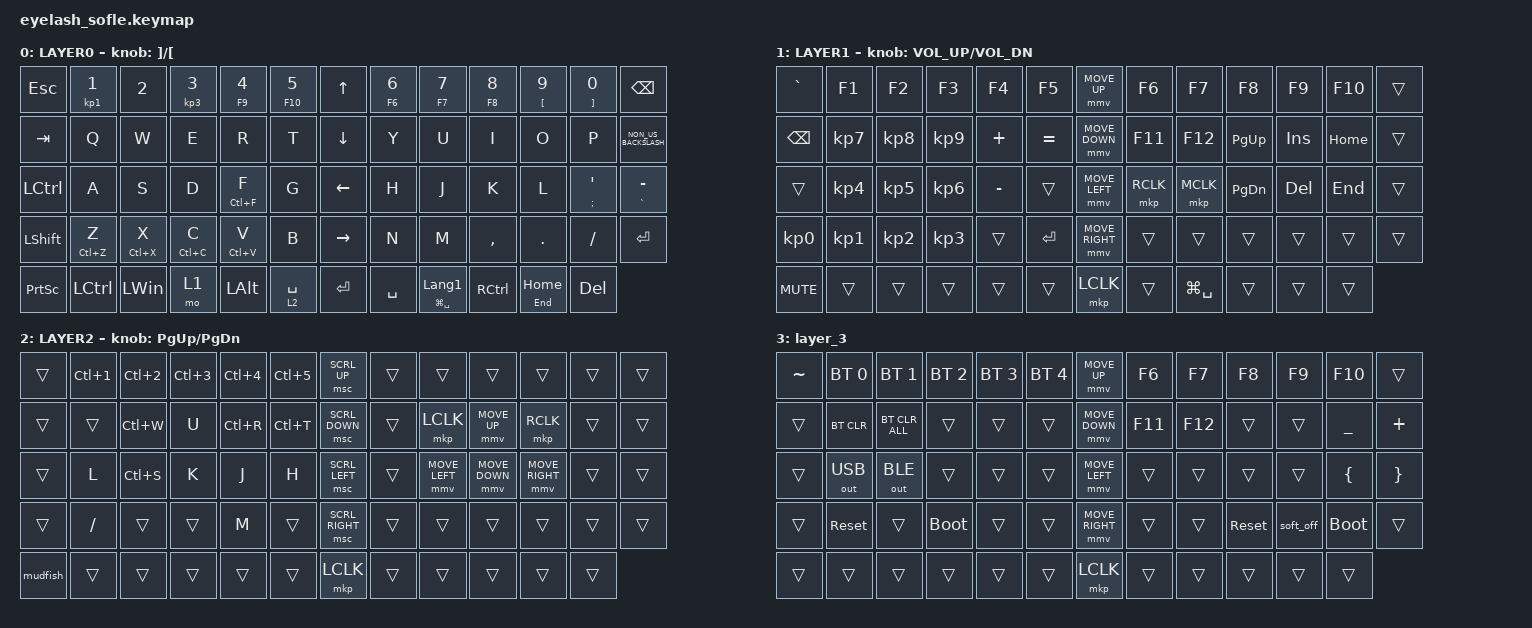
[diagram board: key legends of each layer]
#define ZMK_POINTING_DEFAULT_MOVE_VAL 1200  // 600
#define ZMK_POINTING_DEFAULT_SCRL_VAL 35    // 10

#include <input/processors.dtsi>
#include <zephyr/dt-bindings/input/input-event-codes.h>
#include <behaviors.dtsi>
#include <dt-bindings/zmk/bt.h>
#include <dt-bindings/zmk/keys.h>
#include <dt-bindings/zmk/outputs.h>
#include <dt-bindings/zmk/pointing.h>

/ {
    zip_scroll_scaler: zip_scroll_scaler {
        compatible = "zmk,input-processor-scaler";
        #input-processor-cells = <2>;
        type = <INPUT_EV_REL>;
        codes = <INPUT_REL_WHEEL INPUT_REL_HWHEEL>;
        track-remainders;
    };
};

&mmv_input_listener { input-processors = <&zip_xy_scaler 2 1>; };

&msc_input_listener { input-processors = <&zip_scroll_scaler 2 1>; };

&msc {
    acceleration-exponent = <0>;      // 0
    time-to-max-speed-ms = <0>;       // 300
    delay-ms = <0>;                   // 0
};

&mmv {
    time-to-max-speed-ms = <325>;
    acceleration-exponent = <2>;
};

/ {
    scroll_encoder: scroll_encoder {
        compatible = "zmk,behavior-sensor-rotate";
        #sensor-binding-cells = <0>;
        bindings = <&msc SCRL_DOWN>, <&msc SCRL_UP>;

        tap-ms = <30>;
    };

    hml: hmlayer2 {
        compatible = "zmk,behavior-hold-tap";
        label = "HOME_ROW_Layer2";
        bindings = <&mo>, <&kp>;

        #binding-cells = <2>;
        tapping-term-ms = <200>;
        flavor = "hold-preferred";
    };

    hm: homerow_mod {
        compatible = "zmk,behavior-hold-tap";
        label = "HOMEROW_MOD";
        #binding-cells = <2>;
        tapping-term-ms = <250>;
        flavor = "tap-preferred";
        bindings = <&kp>, <&kp>;
    };

    behaviors {
    };

    combos { compatible = "zmk,combos"; };

    macros {
        mudfish: mudfish {
            compatible = "zmk,behavior-macro";
            #binding-cells = <0>;
            bindings = <&kp Y &kp E &kp W &kp A &kp F &kp A &kp Q>;
            label = "MUDFISH";
        };
    };

    keymap {
        compatible = "zmk,keymap";

        layer0 {
            bindings = <
&kp ESC          &hm KP_NUMBER_1 NUMBER_1  &kp NUMBER_2  &hm KP_NUMBER_3 NUMBER_3  &hm F9 NUMBER_4  &hm F10 N5      &kp UP_ARROW     &hm F6 NUMBER_6  &hm F7 N7                 &hm F8 N8  &hm LEFT_BRACKET N9  &hm RIGHT_BRACKET N0  &kp BACKSPACE
&kp TAB          &kp Q                     &kp W         &kp E                     &kp R            &kp T           &kp DOWN_ARROW   &kp Y            &kp U                     &kp I      &kp O                &kp P                 &kp NON_US_BACKSLASH
&kp LCTRL        &kp A                     &kp S         &kp D                     &hm LC(F) F      &kp G           &kp LEFT_ARROW   &kp H            &kp J                     &kp K      &kp L                &hm SEMICOLON SQT     &hm GRAVE MINUS
&kp LEFT_SHIFT   &hm LC(Z) Z               &hm LC(X) X   &hm LC(C) C               &hm LC(V) V      &kp B           &kp RIGHT_ARROW  &kp N            &kp M                     &kp COMMA  &kp DOT              &kp FSLH              &kp ENTER
&kp PRINTSCREEN  &kp LCTRL                 &kp LEFT_WIN  &mo 1                     &kp LEFT_ALT     &hml 2 SPACE    &kp ENTER        &kp SPACE        &hm LG(SPACE) LANGUAGE_1  &kp RCTRL  &hm END HOME         &kp DEL
            >;

            sensor-bindings = <&inc_dec_kp RIGHT_BRACKET LEFT_BRACKET>;
            display-name = "LAYER0";
        };

        layer_1 {
            bindings = <
&kp GRAVE        &kp F1           &kp F2           &kp F3           &kp F4     &kp F5       &mmv MOVE_UP     &kp F6     &kp F7         &kp F8         &kp F9      &kp F10   &trans
&kp BACKSPACE    &kp KP_NUMBER_7  &kp KP_NUMBER_8  &kp KP_NUMBER_9  &kp PLUS   &kp EQUAL    &mmv MOVE_DOWN   &kp F11    &kp F12        &kp PAGE_UP    &kp INSERT  &kp HOME  &trans
&trans           &kp KP_NUMBER_4  &kp KP_NUMBER_5  &kp KP_NUMBER_6  &kp MINUS  &trans       &mmv MOVE_LEFT   &mkp RCLK  &mkp MCLK      &kp PAGE_DOWN  &kp DELETE  &kp END   &trans
&kp KP_NUMBER_0  &kp KP_NUMBER_1  &kp KP_NUMBER_2  &kp KP_NUMBER_3  &trans     &kp ENTER    &mmv MOVE_RIGHT  &trans     &trans         &trans         &trans      &trans    &trans
&kp C_MUTE       &trans           &trans           &trans           &trans     &trans       &mkp LCLK        &trans     &kp LG(SPACE)  &trans         &trans      &trans
            >;

            display-name = "LAYER1";
            sensor-bindings = <&inc_dec_kp C_VOL_UP C_VOL_DN>;
        };

        layer_2 {
            bindings = <
&trans    &kp LC(NUMBER_1)  &kp LC(NUMBER_2)  &kp LC(NUMBER_3)  &kp LC(NUMBER_4)  &kp LC(N5)    &msc SCRL_UP     &trans  &trans          &trans          &trans           &trans  &trans
&trans    &trans            &kp LC(W)         &kp U             &kp LC(R)         &kp LC(T)     &msc SCRL_DOWN   &trans  &mkp LCLK       &mmv MOVE_UP    &mkp RCLK        &trans  &trans
&trans    &kp L             &kp LC(S)         &kp K             &kp J             &kp H         &msc SCRL_LEFT   &trans  &mmv MOVE_LEFT  &mmv MOVE_DOWN  &mmv MOVE_RIGHT  &trans  &trans
&trans    &kp SLASH         &trans            &trans            &kp M             &trans        &msc SCRL_RIGHT  &trans  &trans          &trans          &trans           &trans  &trans
&mudfish  &trans            &trans            &trans            &trans            &trans        &mkp LCLK        &trans  &trans          &trans          &trans           &trans
            >;

            label = "LAYER2";
            sensor-bindings = <&inc_dec_kp PAGE_UP PAGE_DOWN>;
        };

        layer_3 {
            bindings = <
&kp TILDE  &bt BT_SEL 0  &bt BT_SEL 1    &bt BT_SEL 2  &bt BT_SEL 3  &bt BT_SEL 4    &mmv MOVE_UP     &kp F6   &kp F7   &kp F8      &kp F9     &kp F10      &trans
&trans     &bt BT_CLR    &bt BT_CLR_ALL  &trans        &trans        &trans          &mmv MOVE_DOWN   &kp F11  &kp F12  &trans      &trans     &kp UNDER    &kp PLUS
&trans     &out OUT_USB  &out OUT_BLE    &trans        &trans        &trans          &mmv MOVE_LEFT   &trans   &trans   &trans      &trans     &kp LBRC     &kp RBRC
&trans     &sys_reset    &trans          &bootloader   &trans        &trans          &mmv MOVE_RIGHT  &trans   &trans   &sys_reset  &soft_off  &bootloader  &trans
&trans     &trans        &trans          &trans        &trans        &trans          &mkp LCLK        &trans   &trans   &trans      &trans     &trans
            >;
        };
    };
};
